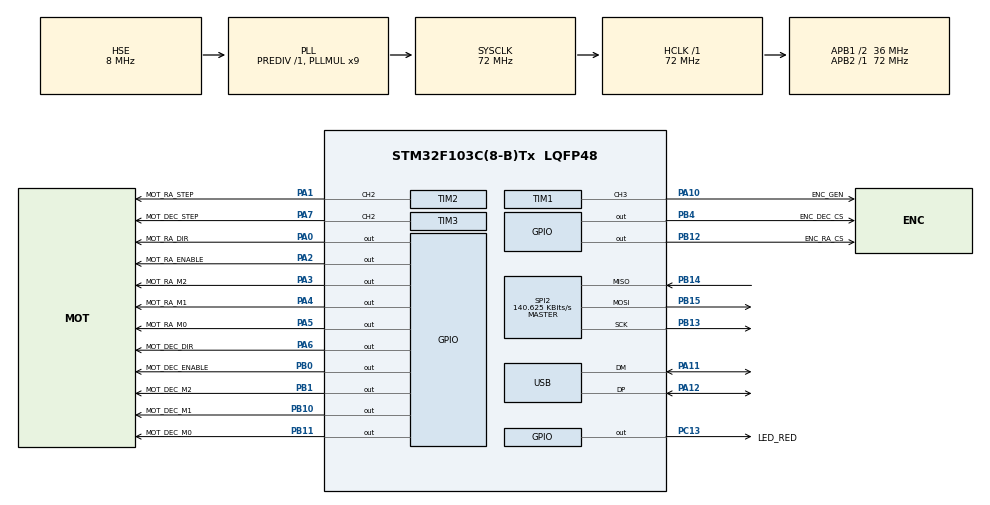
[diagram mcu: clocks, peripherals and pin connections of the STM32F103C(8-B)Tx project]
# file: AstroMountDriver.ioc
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Dma.Request0=TIM2_UP
Dma.Request1=TIM3_CH4/UP
Dma.TIM2_UP.0.Direction=DMA_PERIPH_TO_MEMORY
Dma.TIM2_UP.0.Instance=DMA1_Channel2
Dma.TIM2_UP.0.MemDataAlignment=DMA_MDATAALIGN_BYTE
Dma.TIM2_UP.0.MemInc=DMA_MINC_ENABLE
Dma.TIM2_UP.0.Mode=DMA_CIRCULAR
Dma.TIM2_UP.0.PeriphDataAlignment=DMA_PDATAALIGN_BYTE
Dma.TIM2_UP.0.PeriphInc=DMA_PINC_DISABLE
Dma.TIM2_UP.0.Priority=DMA_PRIORITY_MEDIUM
Dma.TIM3_CH4/UP.1.Direction=DMA_PERIPH_TO_MEMORY
Dma.TIM3_CH4/UP.1.Instance=DMA1_Channel3
Dma.TIM3_CH4/UP.1.MemDataAlignment=DMA_MDATAALIGN_BYTE
Dma.TIM3_CH4/UP.1.MemInc=DMA_MINC_ENABLE
Dma.TIM3_CH4/UP.1.Mode=DMA_CIRCULAR
Dma.TIM3_CH4/UP.1.PeriphDataAlignment=DMA_PDATAALIGN_BYTE
Dma.TIM3_CH4/UP.1.PeriphInc=DMA_PINC_DISABLE
Dma.TIM3_CH4/UP.1.Priority=DMA_PRIORITY_MEDIUM
Mcu.Family=STM32F1
Mcu.Name=STM32F103C(8-B)Tx
Mcu.Package=LQFP48
Mcu.UserConstants=USB_IN_MAX_PACKET_SIZE,64
NVIC.DMA1_Channel2_IRQn=true\:0\:0\:false\:false\:true\:false\:true
NVIC.DMA1_Channel3_IRQn=true\:0\:0\:false\:false\:true\:false\:true
NVIC.PriorityGroup=NVIC_PRIORITYGROUP_4
NVIC.USB_LP_CAN1_RX0_IRQn=true\:0\:0\:false\:false\:true\:true\:true
PA0-WKUP.GPIO_Label=MOT_RA_DIR
PA0-WKUP.Signal=GPIO_Output
PA1.GPIO_Label=MOT_RA_STEP
PA1.GPIO_Speed=GPIO_SPEED_FREQ_HIGH
PA1.Signal=S_TIM2_CH2
PA10.GPIO_Label=ENC_GEN
PA10.GPIO_Speed=GPIO_SPEED_FREQ_LOW
PA10.Signal=S_TIM1_CH3
PA11.Mode=Device
PA11.Signal=USB_DM
PA12.Mode=Device
PA12.Signal=USB_DP
PA13.Mode=Serial_Wire
PA13.Signal=SYS_JTMS-SWDIO
PA14.Mode=Serial_Wire
PA14.Signal=SYS_JTCK-SWCLK
PA2.GPIO_Label=MOT_RA_ENABLE
PA2.Signal=GPIO_Output
PA3.GPIO_Label=MOT_RA_M2
PA3.Signal=GPIO_Output
PA4.GPIO_Label=MOT_RA_M1
PA4.Signal=GPIO_Output
PA5.GPIO_Label=MOT_RA_M0
PA5.Signal=GPIO_Output
PA6.GPIO_Label=MOT_DEC_DIR
PA6.Signal=GPIO_Output
PA7.GPIO_Label=MOT_DEC_STEP
PA7.GPIO_Speed=GPIO_SPEED_FREQ_HIGH
PA7.Signal=S_TIM3_CH2
PB0.GPIO_Label=MOT_DEC_ENABLE
PB0.Signal=GPIO_Output
PB1.GPIO_Label=MOT_DEC_M2
PB1.Signal=GPIO_Output
PB10.GPIO_Label=MOT_DEC_M1
PB10.Signal=GPIO_Output
PB11.GPIO_Label=MOT_DEC_M0
PB11.Signal=GPIO_Output
PB12.GPIO_Label=ENC_RA_CS
PB12.Signal=GPIO_Output
PB13.GPIO_Speed=GPIO_SPEED_FREQ_LOW
PB13.Mode=Full_Duplex_Master
PB13.Signal=SPI2_SCK
PB14.Mode=Full_Duplex_Master
PB14.Signal=SPI2_MISO
PB15.Mode=Full_Duplex_Master
PB15.Signal=SPI2_MOSI
PB4.GPIO_Label=ENC_DEC_CS
PB4.Signal=GPIO_Output
PC13-TAMPER-RTC.GPIO_Label=LED_RED
PC13-TAMPER-RTC.Signal=GPIO_Output
PD0-OSC_IN.Mode=HSE-External-Oscillator
PD0-OSC_IN.Signal=RCC_OSC_IN
PD1-OSC_OUT.Mode=HSE-External-Oscillator
PD1-OSC_OUT.Signal=RCC_OSC_OUT
ProjectManager.HeapSize=0x100
ProjectManager.StackSize=0x100
ProjectManager.TargetToolchain=MDK-ARM V5
RCC.AHBFreq_Value=72000000
RCC.APB1CLKDivider=RCC_HCLK_DIV2
RCC.APB1Freq_Value=36000000
RCC.APB1TimFreq_Value=72000000
RCC.APB2Freq_Value=72000000
RCC.APB2TimFreq_Value=72000000
RCC.HCLKFreq_Value=72000000
RCC.PLLMUL=RCC_PLL_MUL9
RCC.PLLSourceVirtual=RCC_PLLSOURCE_HSE
RCC.RTCClockSelection=RCC_RTCCLKSOURCE_LSE
RCC.SYSCLKFreq_VALUE=72000000
RCC.SYSCLKSource=RCC_SYSCLKSOURCE_PLLCLK
RCC.USBFreq_Value=48000000
RCC.USBPrescaler=RCC_USBCLKSOURCE_PLL_DIV1_5
SH.S_TIM1_CH3.0=TIM1_CH3,Output Compare3 CH3
SH.S_TIM2_CH2.0=TIM2_CH2,PWM Generation2 CH2
SH.S_TIM3_CH2.0=TIM3_CH2,PWM Generation2 CH2
SPI2.BaudRatePrescaler=SPI_BAUDRATEPRESCALER_256
SPI2.CLKPhase=SPI_PHASE_2EDGE
SPI2.CLKPolarity=SPI_POLARITY_LOW
SPI2.CalculateBaudRate=140.625 KBits/s
SPI2.DataSize=SPI_DATASIZE_8BIT
SPI2.Direction=SPI_DIRECTION_2LINES
SPI2.FirstBit=SPI_FIRSTBIT_MSB
SPI2.Mode=SPI_MODE_MASTER
SPI2.VirtualType=VM_MASTER
TIM1.Channel-Output\ Compare3\ CH3=TIM_CHANNEL_3
TIM1.CounterMode=TIM_COUNTERMODE_DOWN
TIM1.OCMode_3=TIM_OCMODE_TOGGLE
TIM1.Period=8
TIM1.Prescaler=0
TIM2.AutoReloadPreload=TIM_AUTORELOAD_PRELOAD_ENABLE
TIM2.Channel-PWM\ Generation2\ CH2=TIM_CHANNEL_2
TIM2.CounterMode=TIM_COUNTERMODE_UP
TIM2.OCPolarity_2=TIM_OCPOLARITY_LOW
TIM2.Period=50000
TIM2.Prescaler=1
TIM2.Pulse-PWM\ Generation2\ CH2=25000
TIM3.AutoReloadPreload=TIM_AUTORELOAD_PRELOAD_ENABLE
TIM3.Channel-PWM\ Generation2\ CH2=TIM_CHANNEL_2
TIM3.CounterMode=TIM_COUNTERMODE_UP
TIM3.OCPolarity_2=TIM_OCPOLARITY_LOW
TIM3.Period=50000
TIM3.Prescaler=1
TIM3.Pulse-PWM\ Generation2\ CH2=25000
TIM3.TIM_MasterOutputTrigger=TIM_TRGO_RESET
USB_DEVICE.CLASS_NAME_FS=CUSTOM_HID
USB_DEVICE.MANUFACTURER_STRING=STM32
USB_DEVICE.PID_CUSTOMHID_FS=22355
USB_DEVICE.PRODUCT_STRING_CUSTOMHID_FS=AstroMount
USB_DEVICE.SERIALNUMBER_STRING_CUSTOMHID_FS=00000000001B
USB_DEVICE.USBD_CUSTOMHID_OUTREPORT_BUF_SIZE=USB_IN_MAX_PACKET_SIZE
USB_DEVICE.USBD_CUSTOM_HID_REPORT_DESC_SIZE=24
USB_DEVICE.USBD_HandleTypeDef=hUsbDeviceFS
USB_DEVICE.USBD_MAX_STR_DESC_SIZ=256
USB_DEVICE.USBD_SELF_POWERED=0
USB_DEVICE.VirtualMode=CustomHid
USB_DEVICE.VirtualModeFS=Custom_Hid_FS
VP_USB_DEVICE_VS_USB_DEVICE_CUSTOM_HID_FS.Mode=CUSTOM_HID_FS
board=AstroMountDriver

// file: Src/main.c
/* USER CODE BEGIN Header */
/**
  ******************************************************************************
  * @file           : main.c
  * @brief          : Main program body
  ******************************************************************************
  * @attention
  *
  * <h2><center>&copy; Copyright (c) 2019 STMicroelectronics.
  * All rights reserved.</center></h2>
  *
  * This software component is licensed by ST under Ultimate Liberty license
  * SLA0044, the "License"; You may not use this file except in compliance with
  * the License. You may obtain a copy of the License at:
  *                             www.st.com/SLA0044
  *
  ******************************************************************************
  */
/* USER CODE END Header */

#include "main.h"
#include "dma.h"
#include "spi.h"
#include "tim.h"
#include "usb_device.h"
#include "gpio.h"

/* USER CODE BEGIN Includes */
#include "usbd_custom_hid_if.h"
#include "Encoder.h"
#include "Logic.h"
/* USER CODE END Includes */

/* USER CODE BEGIN PV */
/* Private variables ---------------------------------------------------------*/

/* USER CODE END PV */

void SystemClock_Config(void);
/* USER CODE BEGIN PFP */
/* Private function prototypes -----------------------------------------------*/

/* USER CODE END PFP */

int main(void)
{

  /* MCU Configuration--------------------------------------------------------*/

  /* Reset of all peripherals, Initializes the Flash interface and the Systick. */
  HAL_Init();

  /* Configure the system clock */
  SystemClock_Config();

  /* Initialize all configured peripherals */
  MX_GPIO_Init();
  MX_DMA_Init();
  MX_TIM3_Init();
  MX_USB_DEVICE_Init();
  MX_SPI2_Init();
  MX_TIM1_Init();
  MX_TIM2_Init();
  /* USER CODE BEGIN 2 */
//	HAL_Delay(1000);
//	HAL_GPIO_WritePin(MOT_DEC_ENABLE_GPIO_Port, MOT_DEC_ENABLE_Pin, GPIO_PIN_SET);
//	HAL_Delay(1000);
//	HAL_GPIO_WritePin(MOT_RA_ENABLE_GPIO_Port, MOT_RA_ENABLE_Pin, GPIO_PIN_SET);
//	HAL_Delay(1000);
//	HAL_GPIO_WritePin(MOT_DEC_DIR_GPIO_Port, MOT_DEC_DIR_Pin, GPIO_PIN_RESET);
//	HAL_TIM_OC_Start(&htim3, TIM_CHANNEL_2);
//	HAL_Delay(1000);
//	HAL_GPIO_WritePin(MOT_RA_DIR_GPIO_Port, MOT_RA_DIR_Pin, GPIO_PIN_RESET);

	InitLogic();

	//Init 1/32 microsteps on all motors
	HAL_GPIO_WritePin(MOT_RA_M0_GPIO_Port, MOT_RA_M0_Pin, GPIO_PIN_SET);
	HAL_GPIO_WritePin(MOT_RA_M1_GPIO_Port, MOT_RA_M1_Pin, GPIO_PIN_SET);
	HAL_GPIO_WritePin(MOT_RA_M2_GPIO_Port, MOT_RA_M2_Pin, GPIO_PIN_SET);
	HAL_GPIO_WritePin(MOT_DEC_M0_GPIO_Port, MOT_DEC_M0_Pin, GPIO_PIN_RESET);
	HAL_GPIO_WritePin(MOT_DEC_M1_GPIO_Port, MOT_DEC_M1_Pin, GPIO_PIN_RESET);
	HAL_GPIO_WritePin(MOT_DEC_M2_GPIO_Port, MOT_DEC_M2_Pin, GPIO_PIN_SET);

	//Start timer for 4MHz encoder clock feed
	HAL_TIM_OC_Start(&TIMER_HANDLE_ENC_RA, TIMER_CHANNEL_ENC_RA);

	//Turn off CS for encoder
	HAL_GPIO_WritePin(ENC_RA_CS_GPIO_Port, ENC_RA_CS_Pin, GPIO_PIN_SET);

//	htim4.Instance->PSC = 999;
//	htim4.Instance->ARR = 35999;
//	uint8_t buf[USB_IN_MAX_PACKET_SIZE];
	//HAL_GPIO_TogglePin(LED_RED_GPIO_Port, LED_RED_Pin);
  /* USER CODE END 2 */

  /* Infinite loop */
  /* USER CODE BEGIN WHILE */

	uint32_t nCurrentTick = HAL_GetTick();
	uint32_t nDelay = 1;
  while (1)
  {
    /* USER CODE END WHILE */

    /* USER CODE BEGIN 3 */
		if (HAL_GetTick() - nCurrentTick > 1000) {
			HAL_GPIO_TogglePin(LED_RED_GPIO_Port, LED_RED_Pin);
			nCurrentTick = HAL_GetTick();
		}

		EqUpdateEncoderValues();
		HAL_Delay(nDelay);
  }
  /* USER CODE END 3 */
}

void SystemClock_Config(void)
{
  RCC_OscInitTypeDef RCC_OscInitStruct = {0};
  RCC_ClkInitTypeDef RCC_ClkInitStruct = {0};
  RCC_PeriphCLKInitTypeDef PeriphClkInit = {0};

  /** Initializes the CPU, AHB and APB busses clocks
  */
  RCC_OscInitStruct.OscillatorType = RCC_OSCILLATORTYPE_HSE;
  RCC_OscInitStruct.HSEState = RCC_HSE_ON;
  RCC_OscInitStruct.HSEPredivValue = RCC_HSE_PREDIV_DIV1;
  RCC_OscInitStruct.HSIState = RCC_HSI_ON;
  RCC_OscInitStruct.PLL.PLLState = RCC_PLL_ON;
  RCC_OscInitStruct.PLL.PLLSource = RCC_PLLSOURCE_HSE;
  RCC_OscInitStruct.PLL.PLLMUL = RCC_PLL_MUL9;
  if (HAL_RCC_OscConfig(&RCC_OscInitStruct) != HAL_OK)
  {
    Error_Handler();
  }
  /** Initializes the CPU, AHB and APB busses clocks
  */
  RCC_ClkInitStruct.ClockType = RCC_CLOCKTYPE_HCLK|RCC_CLOCKTYPE_SYSCLK
                              |RCC_CLOCKTYPE_PCLK1|RCC_CLOCKTYPE_PCLK2;
  RCC_ClkInitStruct.SYSCLKSource = RCC_SYSCLKSOURCE_PLLCLK;
  RCC_ClkInitStruct.AHBCLKDivider = RCC_SYSCLK_DIV1;
  RCC_ClkInitStruct.APB1CLKDivider = RCC_HCLK_DIV2;
  RCC_ClkInitStruct.APB2CLKDivider = RCC_HCLK_DIV1;

  if (HAL_RCC_ClockConfig(&RCC_ClkInitStruct, FLASH_LATENCY_2) != HAL_OK)
  {
    Error_Handler();
  }
  PeriphClkInit.PeriphClockSelection = RCC_PERIPHCLK_USB;
  PeriphClkInit.UsbClockSelection = RCC_USBCLKSOURCE_PLL_DIV1_5;
  if (HAL_RCCEx_PeriphCLKConfig(&PeriphClkInit) != HAL_OK)
  {
    Error_Handler();
  }
}

void Error_Handler(void)
{
  while(1)
  {
  }
}

/************************ (C) COPYRIGHT STMicroelectronics *****END OF FILE****/
